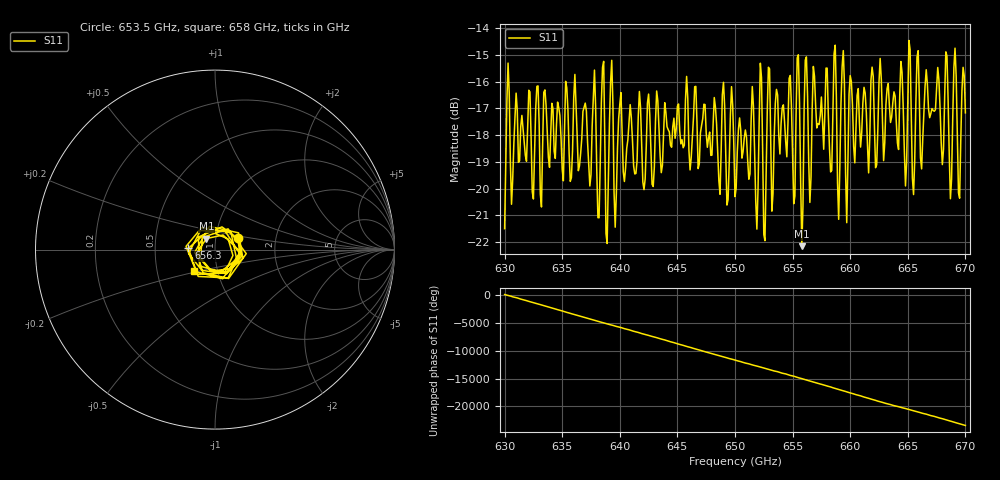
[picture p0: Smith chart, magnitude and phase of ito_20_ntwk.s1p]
!Created with skrf (http://scikit-rf.org).
# GHz S RI R 50.0
!freq ReS11 ImS11
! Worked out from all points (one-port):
!   401 points, 630 GHz to 670 GHz, reference 50 ohm
!   lowest |S11| = -22.2 dB at 655.8 GHz (marker M1), VSWR 1.17, Z = 45.1 + j5.56 ohm
!   |S11| at or under -10 dB: start of sweep to end of sweep
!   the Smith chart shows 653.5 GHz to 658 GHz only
!   S11 on the Smith chart (normalised r, x): 653.5 GHz: 1.29, +0.17; 656.3 GHz: 0.74, +0.01; 658 GHz: 0.77, -0.19
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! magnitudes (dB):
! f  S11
! 630 GHz  -21.5
! 630.3 GHz  -15.3
! 635 GHz  -19.3
! 637.8 GHz  -15.6
! 638.2 GHz  -21.1
! 638.5 GHz  -15.5
! 638.9 GHz  -22.1
! 639.2 GHz  -16.0
! 639.7 GHz  -20.2
! 640 GHz  -16.8
! 645 GHz  -16.9
! 650 GHz  -20.3
! 652.2 GHz  -15.3
! 652.6 GHz  -21.9
! 653.5 GHz  -16.8
! 655 GHz  -18.7
! 655.5 GHz  -15.0
! 655.8 GHz  -22.2
! 656.3 GHz  -16.6
! 658 GHz  -15.5
! 659 GHz  -21.1
! 660 GHz  -15.8
! 665 GHz  -16.7
! 668.3 GHz  -14.9
! 668.7 GHz  -20.4
! 669.1 GHz  -14.7
! 669.5 GHz  -20.4
! 670 GHz  -17.2
